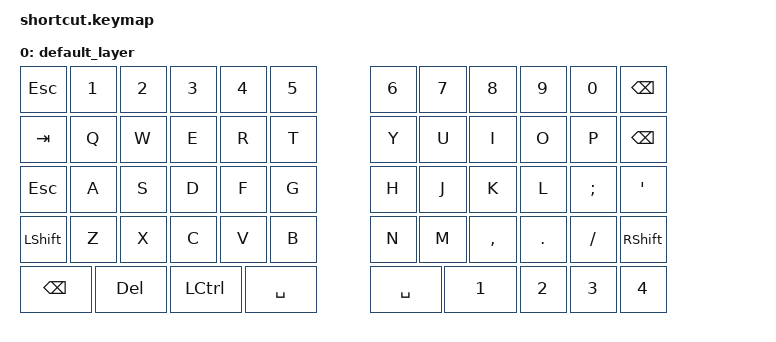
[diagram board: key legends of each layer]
#include <behaviors.dtsi>
#include <dt-bindings/zmk/keys.h>

/ {
    keymap {
        compatible = "zmk,keymap";

        default_layer { // Layer 0
            // -------------------------------------
            // |     Z     |     M     |     K     |
            // |     A     |     B     |     C     |
            // |     D     |     E     |     F     |
            bindings = <
                &kp ESC  &kp 1    &kp 2    &kp 3    &kp 4    &kp 5             &kp 6    &kp 7    &kp 8     &kp 9    &kp 0    &kp BSPC
                &kp TAB  &kp Q    &kp W    &kp E    &kp R    &kp T             &kp Y    &kp U    &kp I     &kp O    &kp P    &kp BSPC
                &kp ESC  &kp A    &kp S    &kp D    &kp F    &kp G             &kp H    &kp J    &kp K     &kp L    &kp SEMI &kp SQT
                &kp LSHFT &kp Z    &kp X    &kp C    &kp V    &kp B            &kp N    &kp M    &kp COMMA &kp DOT  &kp FSLH &kp RSHFT
                &kp BSPC  &kp DEL  &kp LCTRL                 &kp SPACE         &kp SPACE    &kp 1    &kp 2    &kp 3    &kp 4    
            >;
        };
    };
 };
